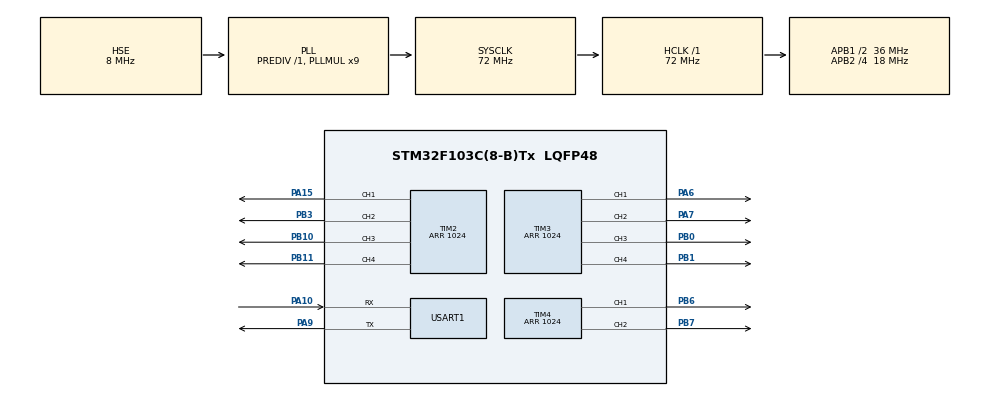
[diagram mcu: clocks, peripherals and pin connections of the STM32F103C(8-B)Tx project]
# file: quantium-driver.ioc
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Mcu.Family=STM32F1
Mcu.Name=STM32F103C(8-B)Tx
Mcu.Package=LQFP48
NVIC.PriorityGroup=NVIC_PRIORITYGROUP_4
NVIC.USART1_IRQn=true\:0\:0\:false\:false\:true\:true
PA10.GPIO_PuPd=GPIO_PULLDOWN
PA10.Mode=Asynchronous
PA10.Signal=USART1_RX
PA13.Mode=Serial_Wire
PA13.Signal=SYS_JTMS-SWDIO
PA14.Mode=Serial_Wire
PA14.Signal=SYS_JTCK-SWCLK
PA15.GPIO_Speed=GPIO_SPEED_FREQ_HIGH
PA15.Signal=S_TIM2_CH1_ETR
PA6.GPIO_Speed=GPIO_SPEED_FREQ_HIGH
PA6.Signal=S_TIM3_CH1
PA7.GPIO_Speed=GPIO_SPEED_FREQ_HIGH
PA7.Signal=S_TIM3_CH2
PA9.Mode=Asynchronous
PA9.Signal=USART1_TX
PB0.GPIO_Speed=GPIO_SPEED_FREQ_HIGH
PB0.Signal=S_TIM3_CH3
PB1.GPIO_Speed=GPIO_SPEED_FREQ_HIGH
PB1.Signal=S_TIM3_CH4
PB10.GPIO_Speed=GPIO_SPEED_FREQ_HIGH
PB10.Signal=S_TIM2_CH3
PB11.GPIO_Speed=GPIO_SPEED_FREQ_HIGH
PB11.Signal=S_TIM2_CH4
PB3.GPIO_Speed=GPIO_SPEED_FREQ_HIGH
PB3.Signal=S_TIM2_CH2
PB6.GPIO_Speed=GPIO_SPEED_FREQ_HIGH
PB6.Signal=S_TIM4_CH1
PB7.GPIO_Speed=GPIO_SPEED_FREQ_HIGH
PB7.Signal=S_TIM4_CH2
PC14-OSC32_IN.Mode=LSE-External-Oscillator
PC14-OSC32_IN.Signal=RCC_OSC32_IN
PC15-OSC32_OUT.Mode=LSE-External-Oscillator
PC15-OSC32_OUT.Signal=RCC_OSC32_OUT
PD0-OSC_IN.Mode=HSE-External-Oscillator
PD0-OSC_IN.Signal=RCC_OSC_IN
PD1-OSC_OUT.Mode=HSE-External-Oscillator
PD1-OSC_OUT.Signal=RCC_OSC_OUT
ProjectManager.HeapSize=0x200
ProjectManager.StackSize=0x400
ProjectManager.TargetToolchain=TrueSTUDIO
RCC.AHBFreq_Value=72000000
RCC.APB1CLKDivider=RCC_HCLK_DIV2
RCC.APB1Freq_Value=36000000
RCC.APB1TimFreq_Value=72000000
RCC.APB2CLKDivider=RCC_HCLK_DIV4
RCC.APB2Freq_Value=18000000
RCC.APB2TimFreq_Value=36000000
RCC.HCLKFreq_Value=72000000
RCC.PLLMUL=RCC_PLL_MUL9
RCC.PLLSourceVirtual=RCC_PLLSOURCE_HSE
RCC.SYSCLKFreq_VALUE=72000000
RCC.SYSCLKSource=RCC_SYSCLKSOURCE_PLLCLK
RCC.USBFreq_Value=48000000
RCC.USBPrescaler=RCC_USBCLKSOURCE_PLL_DIV1_5
SH.S_TIM2_CH1_ETR.0=TIM2_CH1,PWM Generation1 CH1
SH.S_TIM2_CH2.0=TIM2_CH2,PWM Generation2 CH2
SH.S_TIM2_CH3.0=TIM2_CH3,PWM Generation3 CH3
SH.S_TIM2_CH4.0=TIM2_CH4,PWM Generation4 CH4
SH.S_TIM3_CH1.0=TIM3_CH1,PWM Generation1 CH1
SH.S_TIM3_CH2.0=TIM3_CH2,PWM Generation2 CH2
SH.S_TIM3_CH3.0=TIM3_CH3,PWM Generation3 CH3
SH.S_TIM3_CH4.0=TIM3_CH4,PWM Generation4 CH4
SH.S_TIM4_CH1.0=TIM4_CH1,PWM Generation1 CH1
SH.S_TIM4_CH2.0=TIM4_CH2,PWM Generation2 CH2
TIM2.Channel-PWM\ Generation1\ CH1=TIM_CHANNEL_1
TIM2.Channel-PWM\ Generation2\ CH2=TIM_CHANNEL_2
TIM2.Channel-PWM\ Generation3\ CH3=TIM_CHANNEL_3
TIM2.Channel-PWM\ Generation4\ CH4=TIM_CHANNEL_4
TIM2.ClockDivision=TIM_CLOCKDIVISION_DIV1
TIM2.Period=1024
TIM3.Channel-PWM\ Generation1\ CH1=TIM_CHANNEL_1
TIM3.Channel-PWM\ Generation2\ CH2=TIM_CHANNEL_2
TIM3.Channel-PWM\ Generation3\ CH3=TIM_CHANNEL_3
TIM3.Channel-PWM\ Generation4\ CH4=TIM_CHANNEL_4
TIM3.ClockDivision=TIM_CLOCKDIVISION_DIV1
TIM3.Period=1024
TIM4.Channel-PWM\ Generation1\ CH1=TIM_CHANNEL_1
TIM4.Channel-PWM\ Generation2\ CH2=TIM_CHANNEL_2
TIM4.ClockDivision=TIM_CLOCKDIVISION_DIV1
TIM4.Period=1024
USART1.VirtualMode=VM_ASYNC
board=custom

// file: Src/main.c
/**
  ******************************************************************************
  * @file           : main.c
  * @brief          : Main program body
  ******************************************************************************
  ** This notice applies to any and all portions of this file
  * that are not between comment pairs USER CODE BEGIN and
  * USER CODE END. Other portions of this file, whether
  * inserted by the user or by software development tools
  * are owned by their respective copyright owners.
  *
  * COPYRIGHT(c) 2020 STMicroelectronics
  *
  * Redistribution and use in source and binary forms, with or without modification,
  * are permitted provided that the following conditions are met:
  *   1. Redistributions of source code must retain the above copyright notice,
  *      this list of conditions and the following disclaimer.
  *   2. Redistributions in binary form must reproduce the above copyright notice,
  *      this list of conditions and the following disclaimer in the documentation
  *      and/or other materials provided with the distribution.
  *   3. Neither the name of STMicroelectronics nor the names of its contributors
  *      may be used to endorse or promote products derived from this software
  *      without specific prior written permission.
  *
  * THIS SOFTWARE IS PROVIDED BY THE COPYRIGHT HOLDERS AND CONTRIBUTORS "AS IS"
  * AND ANY EXPRESS OR IMPLIED WARRANTIES, INCLUDING, BUT NOT LIMITED TO, THE
  * IMPLIED WARRANTIES OF MERCHANTABILITY AND FITNESS FOR A PARTICULAR PURPOSE ARE
  * DISCLAIMED. IN NO EVENT SHALL THE COPYRIGHT HOLDER OR CONTRIBUTORS BE LIABLE
  * FOR ANY DIRECT, INDIRECT, INCIDENTAL, SPECIAL, EXEMPLARY, OR CONSEQUENTIAL
  * DAMAGES (INCLUDING, BUT NOT LIMITED TO, PROCUREMENT OF SUBSTITUTE GOODS OR
  * SERVICES; LOSS OF USE, DATA, OR PROFITS; OR BUSINESS INTERRUPTION) HOWEVER
  * CAUSED AND ON ANY THEORY OF LIABILITY, WHETHER IN CONTRACT, STRICT LIABILITY,
  * OR TORT (INCLUDING NEGLIGENCE OR OTHERWISE) ARISING IN ANY WAY OUT OF THE USE
  * OF THIS SOFTWARE, EVEN IF ADVISED OF THE POSSIBILITY OF SUCH DAMAGE.
  *
  ******************************************************************************
  */
#include "main.h"
#include "stm32f1xx_hal.h"

/* USER CODE BEGIN Includes */
#include "stdbool.h"
#include "string.h"
/* USER CODE END Includes */

TIM_HandleTypeDef htim2;
TIM_HandleTypeDef htim3;
TIM_HandleTypeDef htim4;

UART_HandleTypeDef huart1;

/* USER CODE BEGIN PV */
/* Private variables ---------------------------------------------------------*/
uint8_t UART_NewMessage = 0;
char rxString[MAXSTRING];
uint8_t UART1_rxBuffer = '\000';
char* _index;
uint8_t pwmChannel[10];

const char helpString[] = {
		"\n\rCommands for use:\n\r"
		"help: - This page. \n\r"
		"off  - Set all channels to zero.\n\r"
		"cfg: - Config channel. \n\r"
		"       Example:\n\r"
		"         cfg:ch02=37,ch05=a8\n\r"
		"         ......\n\r"
		"         cfg:ch00=ff,ch01=e0,ch02=d0,ch03=c0,ch04=b0,ch05=a0,ch06=90,ch07=80,ch08=70,ch09=60\n\r"
		"         ...cfg:chXX=YY - set pwm channel XX = YY - constant in hex format."
		"---\n\rlog:\n\r"};

const char versionTitle[] = {
		"Quantium laser led driver, v1.0 (040520) by dragosha2000@gmx.net, HatSoft (c)\n\rLutsk,UA,2020\n\r" };

/* USER CODE END PV */

void SystemClock_Config(void);
static void MX_GPIO_Init(void);
static void MX_TIM2_Init(void);
static void MX_TIM3_Init(void);
static void MX_TIM4_Init(void);
static void MX_USART1_UART_Init(void);
void HAL_TIM_MspPostInit(TIM_HandleTypeDef *htim);
/* USER CODE BEGIN PFP */
/* Private function prototypes -----------------------------------------------*/

/* USER CODE END PFP */

/* USER CODE BEGIN 0 */
void StartTimers(void)
{
	// pinouts for PCB revision 1.0 build:160219)
	  HAL_TIM_PWM_Start(&htim2, TIM_CHANNEL_1 );
	  HAL_TIM_PWM_Start(&htim2, TIM_CHANNEL_2);
	  HAL_TIM_PWM_Start(&htim2, TIM_CHANNEL_3);
	  HAL_TIM_PWM_Start(&htim2, TIM_CHANNEL_4);
	  HAL_TIM_PWM_Start(&htim3, TIM_CHANNEL_1 );
	  HAL_TIM_PWM_Start(&htim3, TIM_CHANNEL_2);
	  HAL_TIM_PWM_Start(&htim3, TIM_CHANNEL_3);
	  HAL_TIM_PWM_Start(&htim3, TIM_CHANNEL_4);
	  HAL_TIM_PWM_Start(&htim4, TIM_CHANNEL_1);
	  HAL_TIM_PWM_Start(&htim4, TIM_CHANNEL_2);
}

//const uint16_t PWM_CHANNELS[10] = {TIM2->CCR4,TIM2->CCR3,TIM3->CCR4,TIM3->CCR3,TIM3->CCR2,TIM3->CCR1,TIM4->CCR1,TIM4->CCR2,TIM2->CCR1,TIM2->CCR2};
void setPwmChannel(uint8_t channel, uint8_t data) {
	switch (channel) {
	data = data*4;
	case 0: TIM2->CCR4 = data; break;
	case 1: TIM2->CCR3 = data; break;
	case 2: TIM3->CCR4 = data; break;
	case 3: TIM3->CCR3 = data; break;
	case 4: TIM3->CCR2 = data; break;
	case 5: TIM3->CCR1 = data; break;
	case 6: TIM4->CCR1 = data; break;
	case 7: TIM4->CCR2 = data; break;
	case 8: TIM2->CCR1 = data; break;
	case 9: TIM2->CCR2 = data; break;
	}
}

//const uint16_t PWM_CHANNELS[10] = {TIM2->CCR4,TIM2->CCR3,TIM3->CCR4,TIM3->CCR3,TIM3->CCR2,TIM3->CCR1,TIM4->CCR1,TIM4->CCR2,TIM2->CCR1,TIM2->CCR2};
void setPwmChannelFromPwmValues() {
	TIM2->CCR4 = pwmChannel[0];
	TIM2->CCR3 = pwmChannel[1];
	TIM3->CCR4 = pwmChannel[2];
	TIM3->CCR3 = pwmChannel[3];
	TIM3->CCR2 = pwmChannel[4];
	TIM3->CCR1 = pwmChannel[5];
	TIM4->CCR1 = pwmChannel[6];
	TIM4->CCR2 = pwmChannel[7];
	TIM2->CCR1 = pwmChannel[8];
	TIM2->CCR2 = pwmChannel[9];
}

uint32_t hexToInt(char* hex) {
	uint32_t val = 0;
    while (*hex) {
        uint8_t byte = *hex++;
        if (byte >= '0' && byte <= '9') byte = byte - '0';
        else if (byte >= 'a' && byte <='f') byte = byte - 'a' + 10;
        else if (byte >= 'A' && byte <='F') byte = byte - 'A' + 10;
        val = (val << 4) | (byte & 0xF);
    }
    return val;
}

/* USER CODE END 0 */

int main(void)
{

  /* MCU Configuration----------------------------------------------------------*/

  /* Reset of all peripherals, Initializes the Flash interface and the Systick. */
  HAL_Init();

  /* Configure the system clock */
  SystemClock_Config();

  /* Initialize all configured peripherals */
  MX_GPIO_Init();
  MX_TIM2_Init();
  MX_TIM3_Init();
  MX_TIM4_Init();
  MX_USART1_UART_Init();
  /* USER CODE BEGIN 2 */

  __HAL_UART_ENABLE_IT(&huart1, UART_IT_RXNE);
  SendMessage("\n\rKernel started on ....\n\r");
  SendMessage(versionTitle);
  SendMessage("\n\rtesting hardware...");
  for (uint8_t ch=0;ch<10;ch++) {
	  setPwmChannel(ch, 0);
  }
  StartTimers();
/*
  for (uint8_t ch=0;ch<10;ch++) {
	  for (uint8_t data = 0;data<255;data++) {
		  setPwmChannel(ch, data);
		  HAL_Delay(0);
	  }
	  for (uint8_t data = 255;data>0;data--) {
		  setPwmChannel(ch, data);
		  HAL_Delay(0);
	  }
	  setPwmChannel(ch, 0);
  }
*/
  for (uint8_t a=0;a<4;a++) {
	  for (uint8_t ch=0;ch<10;ch++) {
		  setPwmChannel(ch, 255);
	  }

	  HAL_Delay(100);

	  for (uint8_t ch=0;ch<10;ch++) {
		  setPwmChannel(ch, 0);
	  }
	  HAL_Delay(300);
  }

  SendMessage("-ok...\n\r");
  OutputHelpString();
  /* USER CODE END 2 */

  /* Infinite loop */
  while (1)
  {

  /* USER CODE BEGIN 3 */
	  if (UART_NewMessage == 1) {
		  UartCommandProcessor();
	  }
	  HAL_Delay(1);
  }
  /* USER CODE END 3 */

}

void SystemClock_Config(void)
{

  RCC_OscInitTypeDef RCC_OscInitStruct;
  RCC_ClkInitTypeDef RCC_ClkInitStruct;

    /**Initializes the CPU, AHB and APB busses clocks
    */
  RCC_OscInitStruct.OscillatorType = RCC_OSCILLATORTYPE_HSE;
  RCC_OscInitStruct.HSEState = RCC_HSE_ON;
  RCC_OscInitStruct.HSEPredivValue = RCC_HSE_PREDIV_DIV1;
  RCC_OscInitStruct.HSIState = RCC_HSI_ON;
  RCC_OscInitStruct.PLL.PLLState = RCC_PLL_ON;
  RCC_OscInitStruct.PLL.PLLSource = RCC_PLLSOURCE_HSE;
  RCC_OscInitStruct.PLL.PLLMUL = RCC_PLL_MUL9;
  if (HAL_RCC_OscConfig(&RCC_OscInitStruct) != HAL_OK)
  {
    _Error_Handler(__FILE__, __LINE__);
  }

    /**Initializes the CPU, AHB and APB busses clocks
    */
  RCC_ClkInitStruct.ClockType = RCC_CLOCKTYPE_HCLK|RCC_CLOCKTYPE_SYSCLK
                              |RCC_CLOCKTYPE_PCLK1|RCC_CLOCKTYPE_PCLK2;
  RCC_ClkInitStruct.SYSCLKSource = RCC_SYSCLKSOURCE_PLLCLK;
  RCC_ClkInitStruct.AHBCLKDivider = RCC_SYSCLK_DIV1;
  RCC_ClkInitStruct.APB1CLKDivider = RCC_HCLK_DIV2;
  RCC_ClkInitStruct.APB2CLKDivider = RCC_HCLK_DIV4;

  if (HAL_RCC_ClockConfig(&RCC_ClkInitStruct, FLASH_LATENCY_2) != HAL_OK)
  {
    _Error_Handler(__FILE__, __LINE__);
  }

    /**Configure the Systick interrupt time
    */
  HAL_SYSTICK_Config(HAL_RCC_GetHCLKFreq()/1000);

    /**Configure the Systick
    */
  HAL_SYSTICK_CLKSourceConfig(SYSTICK_CLKSOURCE_HCLK);

  /* SysTick_IRQn interrupt configuration */
  HAL_NVIC_SetPriority(SysTick_IRQn, 0, 0);
}

/* TIM2 init function */
static void MX_TIM2_Init(void)
{

  TIM_MasterConfigTypeDef sMasterConfig;
  TIM_OC_InitTypeDef sConfigOC;

  htim2.Instance = TIM2;
  htim2.Init.Prescaler = 0;
  htim2.Init.CounterMode = TIM_COUNTERMODE_UP;
  htim2.Init.Period = 1024;
  htim2.Init.ClockDivision = TIM_CLOCKDIVISION_DIV1;
  htim2.Init.AutoReloadPreload = TIM_AUTORELOAD_PRELOAD_DISABLE;
  if (HAL_TIM_PWM_Init(&htim2) != HAL_OK)
  {
    _Error_Handler(__FILE__, __LINE__);
  }

  sMasterConfig.MasterOutputTrigger = TIM_TRGO_RESET;
  sMasterConfig.MasterSlaveMode = TIM_MASTERSLAVEMODE_DISABLE;
  if (HAL_TIMEx_MasterConfigSynchronization(&htim2, &sMasterConfig) != HAL_OK)
  {
    _Error_Handler(__FILE__, __LINE__);
  }

  sConfigOC.OCMode = TIM_OCMODE_PWM1;
  sConfigOC.Pulse = 0;
  sConfigOC.OCPolarity = TIM_OCPOLARITY_HIGH;
  sConfigOC.OCFastMode = TIM_OCFAST_DISABLE;
  if (HAL_TIM_PWM_ConfigChannel(&htim2, &sConfigOC, TIM_CHANNEL_1) != HAL_OK)
  {
    _Error_Handler(__FILE__, __LINE__);
  }

  if (HAL_TIM_PWM_ConfigChannel(&htim2, &sConfigOC, TIM_CHANNEL_2) != HAL_OK)
  {
    _Error_Handler(__FILE__, __LINE__);
  }

  if (HAL_TIM_PWM_ConfigChannel(&htim2, &sConfigOC, TIM_CHANNEL_3) != HAL_OK)
  {
    _Error_Handler(__FILE__, __LINE__);
  }

  if (HAL_TIM_PWM_ConfigChannel(&htim2, &sConfigOC, TIM_CHANNEL_4) != HAL_OK)
  {
    _Error_Handler(__FILE__, __LINE__);
  }

  HAL_TIM_MspPostInit(&htim2);

}

/* TIM3 init function */
static void MX_TIM3_Init(void)
{

  TIM_MasterConfigTypeDef sMasterConfig;
  TIM_OC_InitTypeDef sConfigOC;

  htim3.Instance = TIM3;
  htim3.Init.Prescaler = 0;
  htim3.Init.CounterMode = TIM_COUNTERMODE_UP;
  htim3.Init.Period = 1024;
  htim3.Init.ClockDivision = TIM_CLOCKDIVISION_DIV1;
  htim3.Init.AutoReloadPreload = TIM_AUTORELOAD_PRELOAD_DISABLE;
  if (HAL_TIM_PWM_Init(&htim3) != HAL_OK)
  {
    _Error_Handler(__FILE__, __LINE__);
  }

  sMasterConfig.MasterOutputTrigger = TIM_TRGO_RESET;
  sMasterConfig.MasterSlaveMode = TIM_MASTERSLAVEMODE_DISABLE;
  if (HAL_TIMEx_MasterConfigSynchronization(&htim3, &sMasterConfig) != HAL_OK)
  {
    _Error_Handler(__FILE__, __LINE__);
  }

  sConfigOC.OCMode = TIM_OCMODE_PWM1;
  sConfigOC.Pulse = 0;
  sConfigOC.OCPolarity = TIM_OCPOLARITY_HIGH;
  sConfigOC.OCFastMode = TIM_OCFAST_DISABLE;
  if (HAL_TIM_PWM_ConfigChannel(&htim3, &sConfigOC, TIM_CHANNEL_1) != HAL_OK)
  {
    _Error_Handler(__FILE__, __LINE__);
  }

  if (HAL_TIM_PWM_ConfigChannel(&htim3, &sConfigOC, TIM_CHANNEL_2) != HAL_OK)
  {
    _Error_Handler(__FILE__, __LINE__);
  }

  if (HAL_TIM_PWM_ConfigChannel(&htim3, &sConfigOC, TIM_CHANNEL_3) != HAL_OK)
  {
    _Error_Handler(__FILE__, __LINE__);
  }

  if (HAL_TIM_PWM_ConfigChannel(&htim3, &sConfigOC, TIM_CHANNEL_4) != HAL_OK)
  {
    _Error_Handler(__FILE__, __LINE__);
  }

  HAL_TIM_MspPostInit(&htim3);

}

/* TIM4 init function */
static void MX_TIM4_Init(void)
{

  TIM_MasterConfigTypeDef sMasterConfig;
  TIM_OC_InitTypeDef sConfigOC;

  htim4.Instance = TIM4;
  htim4.Init.Prescaler = 0;
  htim4.Init.CounterMode = TIM_COUNTERMODE_UP;
  htim4.Init.Period = 1024;
  htim4.Init.ClockDivision = TIM_CLOCKDIVISION_DIV1;
  htim4.Init.AutoReloadPreload = TIM_AUTORELOAD_PRELOAD_DISABLE;
  if (HAL_TIM_PWM_Init(&htim4) != HAL_OK)
  {
    _Error_Handler(__FILE__, __LINE__);
  }

  sMasterConfig.MasterOutputTrigger = TIM_TRGO_RESET;
  sMasterConfig.MasterSlaveMode = TIM_MASTERSLAVEMODE_DISABLE;
  if (HAL_TIMEx_MasterConfigSynchronization(&htim4, &sMasterConfig) != HAL_OK)
  {
    _Error_Handler(__FILE__, __LINE__);
  }

  sConfigOC.OCMode = TIM_OCMODE_PWM1;
  sConfigOC.Pulse = 0;
  sConfigOC.OCPolarity = TIM_OCPOLARITY_HIGH;
  sConfigOC.OCFastMode = TIM_OCFAST_DISABLE;
  if (HAL_TIM_PWM_ConfigChannel(&htim4, &sConfigOC, TIM_CHANNEL_1) != HAL_OK)
  {
    _Error_Handler(__FILE__, __LINE__);
  }

  if (HAL_TIM_PWM_ConfigChannel(&htim4, &sConfigOC, TIM_CHANNEL_2) != HAL_OK)
  {
    _Error_Handler(__FILE__, __LINE__);
  }

  HAL_TIM_MspPostInit(&htim4);

}

/* USART1 init function */
static void MX_USART1_UART_Init(void)
{

  huart1.Instance = USART1;
  huart1.Init.BaudRate = 115200;
  huart1.Init.WordLength = UART_WORDLENGTH_8B;
  huart1.Init.StopBits = UART_STOPBITS_1;
  huart1.Init.Parity = UART_PARITY_NONE;
  huart1.Init.Mode = UART_MODE_TX_RX;
  huart1.Init.HwFlowCtl = UART_HWCONTROL_NONE;
  huart1.Init.OverSampling = UART_OVERSAMPLING_16;
  if (HAL_UART_Init(&huart1) != HAL_OK)
  {
    _Error_Handler(__FILE__, __LINE__);
  }

}

/** Configure pins as
        * Analog
        * Input
        * Output
        * EVENT_OUT
        * EXTI
*/
static void MX_GPIO_Init(void)
{

  /* GPIO Ports Clock Enable */
  __HAL_RCC_GPIOC_CLK_ENABLE();
  __HAL_RCC_GPIOD_CLK_ENABLE();
  __HAL_RCC_GPIOA_CLK_ENABLE();
  __HAL_RCC_GPIOB_CLK_ENABLE();

}

/* USER CODE BEGIN 4 */
void UartCommandProcessor() {

	char string_temp[50];
	uint8_t message_id;
//	char binaryString[(sizeof(int) << 3) + 1];
//	char* temp_str;

		snprintf(string_temp,sizeof(string_temp),"<UART0> incoming message: %s\n\r", rxString);
		SendMessage(string_temp);
		message_id = processUartMessage(rxString);
		if (message_id>-1) {
			SendMessage("- check command success.\n\r");
			switch (message_id) {
			case UART_CMD_HELP:
				OutputHelpString();
				break;
			case UART_CMD_CONFIG_CHANNEL:
				for (uint8_t x=0; x<10; x++) {
					setPwmChannel(x, pwmChannel[x]);
				}
//				setPwmChannelFromPwmValues();
				break;
			case UART_CMD_OFF_ALL:
				for (uint8_t x=0; x<10; x++) {
					pwmChannel[x] = 0;
					setPwmChannel(x, 0);
				}
			}
		} else {
			SendMessage("incorrect command !\n\r");
		}
		UART_NewMessage = 0;
}

uint8_t processUartMessage(char* string) {

//	char str1[6];
	int8_t id = -1;
	uint8_t x;
	char str1[3] = {0,0,0};

	_index = strstr(string,"help");
    if(_index!=NULL) return UART_CMD_HELP;
    else {
    	_index = strstr(string,"cfg:");
    	if (_index!=NULL) {
    		for (x=0; x<10; x++) {
    			char string_temp[5];
    			snprintf(string_temp,sizeof(string_temp),"ch%02X", x+1);
    			_index = strstr(string,string_temp);
    			if (_index != NULL) {
    	    		memcpy(str1, _index  + 5, 2);
    				pwmChannel[x] = (uint8_t)hexToInt(str1);
    			}
    		}
    		id = UART_CMD_CONFIG_CHANNEL;
    	} else {
        	_index = strstr(string,"off");
        	if (_index!=NULL) {
        		id = UART_CMD_OFF_ALL;
        	}
    	}
    	return id;
    }
}

void OutputHelpString() {
	SendMessage(helpString);
}

void SendMessage(char string[]) {

//	while (UART_TX_Busy){};
//	UART_TX_Busy = 1;
//	snprintf(string_out,sizeof(string_out),string);
	HAL_UART_Transmit(&huart1,(uint8_t*)string,strlen(string), HAL_MAX_DELAY);
//	CDC_Transmit_FS((uint8_t)string, (uint16_t)strlen(string));
}

void HAL_UART_RxCpltCallback(UART_HandleTypeDef *huart)
{
	static short int UART1_rxindex = 0;
	static uint8_t UART1_ErrorFlag = UART_PACKET_OK;

		UART1_rxBuffer = (uint8_t)huart->Instance->DR;
		if (UART1_rxBuffer == 8 || UART1_rxBuffer == 127) // If Backspace or del
		{
			UART1_rxindex--;
			if (UART1_rxindex < 0) UART1_rxindex = 0;
		}

		else if (UART1_rxBuffer == '\n' || UART1_rxBuffer == '\r' || UART1_rxBuffer == '\0') // If Enter
		{
			if (UART1_ErrorFlag == UART_PACKET_OK && UART1_rxindex)
			{
				rxString[UART1_rxindex] = 0;
				UART1_rxindex = 0;
				UART_NewMessage = 1;
			}
			else
			{
				SendMessage("ERROR > UART1 packet too long\n\r");
				UART1_ErrorFlag = UART_PACKET_OK; // reset error state
			}
		}

		else
		{
			if (UART1_rxBuffer != '\r' && UART1_ErrorFlag == UART_PACKET_OK) // Ignore return
			{
				rxString[UART1_rxindex] = UART1_rxBuffer; // Add that character to the string
				UART1_rxindex++;
				if (UART1_rxindex >= MAXSTRING) // User typing too much, we can't have commands that big
				{
					UART1_ErrorFlag = UART_PACKET_TOO_LONG;
					UART1_rxindex = 0;
					rxString[UART1_rxindex] = '\000';
					UART_NewMessage = 1;
				}
			}
		}
		__HAL_UART_ENABLE_IT(huart, UART_IT_RXNE);
}

/* USER CODE END 4 */

void _Error_Handler(char *file, int line)
{
  while(1)
  {
  }
}

/************************ (C) COPYRIGHT STMicroelectronics *****END OF FILE****/
